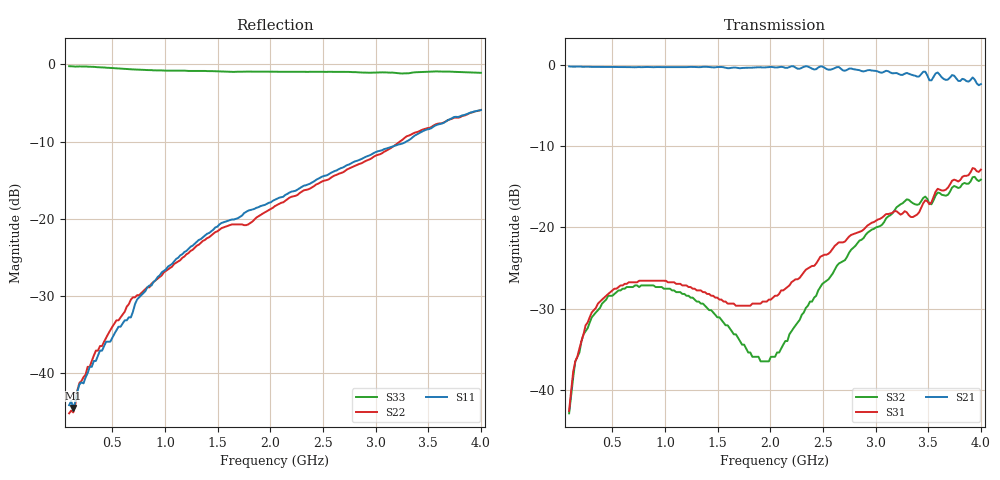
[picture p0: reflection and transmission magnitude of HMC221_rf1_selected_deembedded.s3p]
!Hittite Microwave Corporation
!12 Elizabeth Drive
!Chelmsford, MA 01824
!Tel: 978-250-3343
!Fax: 978-250-3373
!Device: HMC221, DC - 3 GHz GaAs MMIC SPDT Switch in 6-lead SOT26 plastic package
!Misc: Port 1 = RFC, Port 2 = RF1, Port 3 = RF2, RF1 Selected, Bias: +3VDC
# MHZ S MA R 50
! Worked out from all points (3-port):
!   201 points, 90 MHz to 4 GHz, reference 50 ohm
!   strongest paths, dB at 90 MHz, 1.067 GHz, 2.045 GHz, 3.022 GHz, 4 GHz:
!     S21: -0.2, -0.3, -0.3, -0.8, -2.3
!     S31: -42.6, -26.7, -28.4, -19.0, -12.9
!     S32: -42.9, -27.7, -35.9, -19.9, -14.1
!   lowest |S11| = -44.5 dB at 129.1 MHz (marker M1), VSWR 1.01, Z = 50.6 + j0.102 ohm
!   |S11| at or under -10 dB: start of sweep to 3.29 GHz
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90  0.006203 -17.7  0.981 -0.4  0.008194 81.7
    0.981 -0.5  0.005497 -10.4  0.007689 83.5
    0.007424 81.2  0.007182 83.2  0.975 -19.3
129.1  0.005958 9.8  0.977 -0.6  0.013 88.6
       0.977 -0.5  0.005574 13.7  0.012 87.1
       0.013 88.3  0.012 85.9  0.972 -27.1
305.05  0.011 -6.6  0.975 -0.6  0.029 70.8
        0.974 -0.6  0.012 -0.4  0.027 63.7
        0.03 73.5  0.028 63.5  0.966 -60.8
461.45  0.016 -27.0  0.973 -0.4  0.039 61.7
        0.974 -0.5  0.018 -22.3  0.038 50.5
        0.039 61.7  0.038 50.7  0.952 -86.8
969.75  0.045 -94.5  0.971 -0.1  0.048 49.1
        0.971 -0.2  0.043 -86.5  0.044 21.3
        0.047 48.4  0.043 19.9  0.915 -146.3
1380.3  0.078 -125.6  0.975 -0.3  0.041 53.4
        0.976 -0.3  0.073 -121.0  0.033 -0.5
        0.04 54.0  0.033 0.1  0.908 -178.3
1810.4  0.114 -151.3  0.962 -0.3  0.033 85.8
        0.961 -0.2  0.094 -149.8  0.016 -41.8
        0.033 85.7  0.017 -41.9  0.899 155.8
2045  0.133 -161.4  0.972 -0.4  0.039 108.5
      0.966 -1.0  0.121 -159.6  0.017 -101.4
      0.038 108.2  0.016 -101.2  0.897 143.4
3237.55  0.305 153.9  0.893 -4.8  0.137 135.1
         0.87 -7.4  0.319 169.7  0.158 178.0
         0.12 136.4  0.139 179.1  0.875 99.5
4000  0.507 129.3  0.836 -16.3  0.218 138.7
      0.763 -11.4  0.507 147.0  0.191 156.0
      0.227 147.6  0.197 164.8  0.883 77.8
